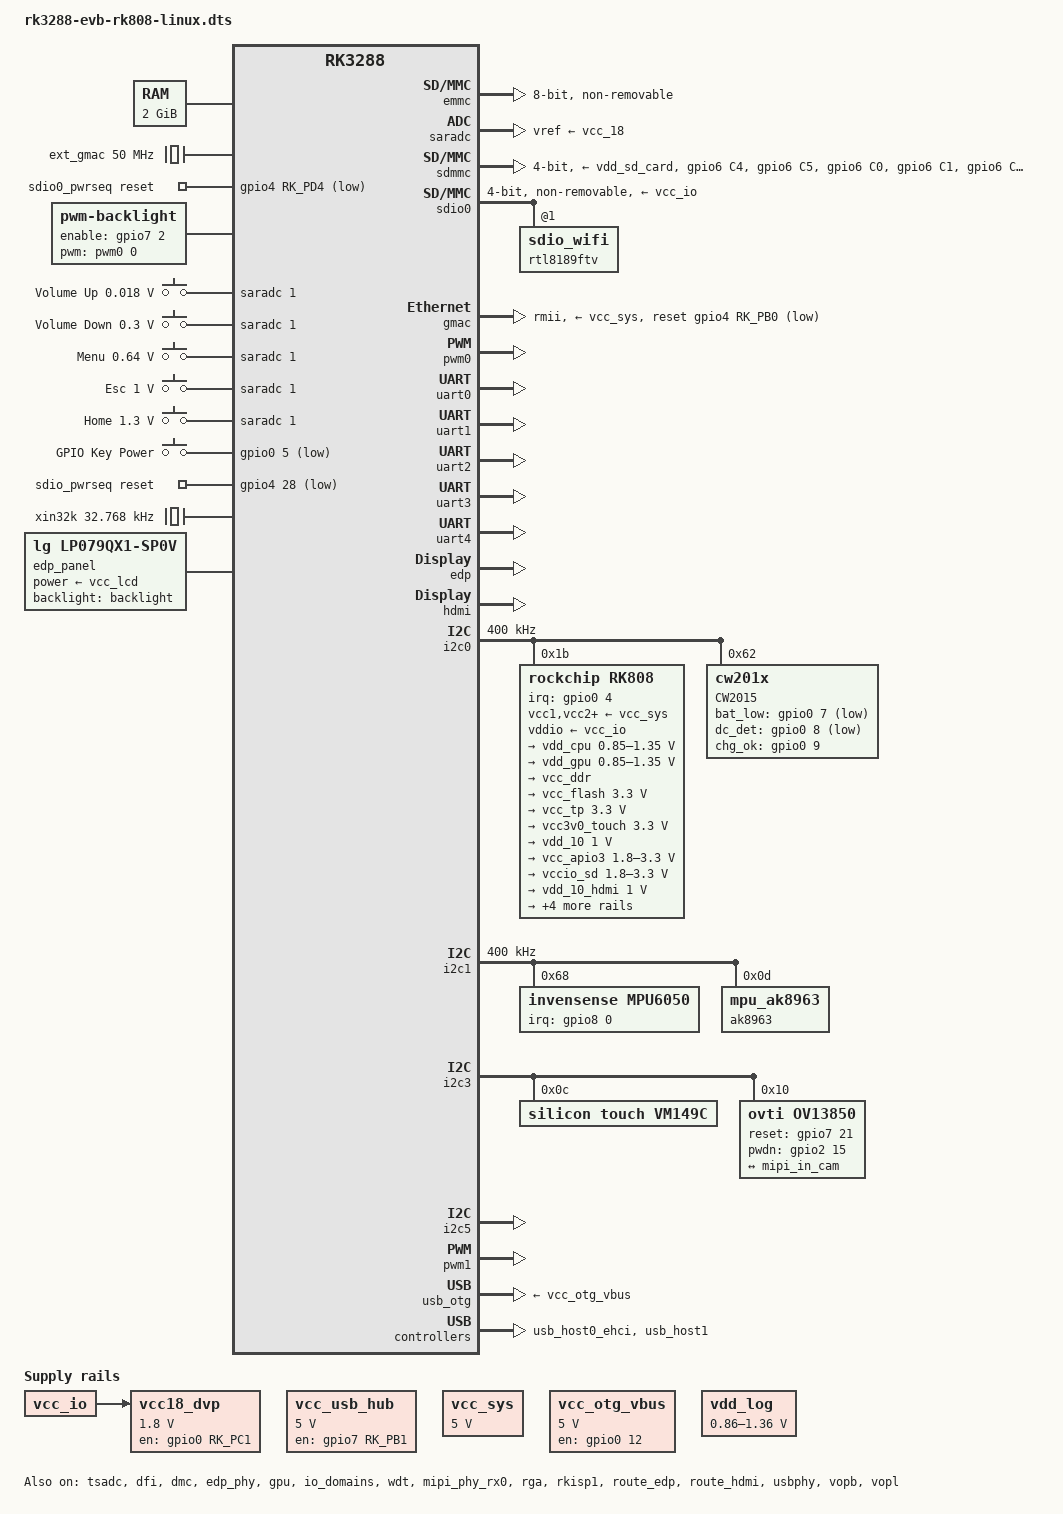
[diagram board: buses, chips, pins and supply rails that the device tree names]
/*
 * This file is dual-licensed: you can use it either under the terms
 * of the GPL or the X11 license, at your option. Note that this dual
 * licensing only applies to this file, and not this project as a
 * whole.
 *
 *  a) This file is free software; you can redistribute it and/or
 *     modify it under the terms of the GNU General Public License as
 *     published by the Free Software Foundation; either version 2 of the
 *     License, or (at your option) any later version.
 *
 *     This file is distributed in the hope that it will be useful,
 *     but WITHOUT ANY WARRANTY; without even the implied warranty of
 *     MERCHANTABILITY or FITNESS FOR A PARTICULAR PURPOSE.  See the
 *     GNU General Public License for more details.
 *
 * Or, alternatively,
 *
 *  b) Permission is hereby granted, free of charge, to any person
 *     obtaining a copy of this software and associated documentation
 *     files (the "Software"), to deal in the Software without
 *     restriction, including without limitation the rights to use,
 *     copy, modify, merge, publish, distribute, sublicense, and/or
 *     sell copies of the Software, and to permit persons to whom the
 *     Software is furnished to do so, subject to the following
 *     conditions:
 *
 *     The above copyright notice and this permission notice shall be
 *     included in all copies or substantial portions of the Software.
 *
 *     THE SOFTWARE IS PROVIDED "AS IS", WITHOUT WARRANTY OF ANY KIND,
 *     EXPRESS OR IMPLIED, INCLUDING BUT NOT LIMITED TO THE WARRANTIES
 *     OF MERCHANTABILITY, FITNESS FOR A PARTICULAR PURPOSE AND
 *     NONINFRINGEMENT. IN NO EVENT SHALL THE AUTHORS OR COPYRIGHT
 *     HOLDERS BE LIABLE FOR ANY CLAIM, DAMAGES OR OTHER LIABILITY,
 *     WHETHER IN AN ACTION OF CONTRACT, TORT OR OTHERWISE, ARISING
 *     FROM, OUT OF OR IN CONNECTION WITH THE SOFTWARE OR THE USE OR
 *     OTHER DEALINGS IN THE SOFTWARE.
 */

/dts-v1/;
#include "rk3288-evb.dtsi"
#include "rk3288-linux.dtsi"
#include <dt-bindings/input/input.h>
#include <dt-bindings/pwm/pwm.h>

/ {
	compatible = "rockchip,rk3288-evb-rk808-linux", "rockchip,rk3288";

	memory@0 {
		device_type = "memory";
		reg = <0x0 0x0 0x0 0x80000000>;
	};

	ext_gmac: external-gmac-clock {
		compatible = "fixed-clock";
		clock-frequency = <50000000>;
		clock-output-names = "ext_gmac";
		#clock-cells = <0>;
	};

	/* This turns on 5V power for the GL850G USB hub chip, which many USB ports are connected to. */
	vcc_usb_hub: vcc-usb-hub-regulator {
		compatible = "regulator-fixed";
		enable-active-high;
		regulator-min-microvolt = <5000000>;
		regulator-max-microvolt = <5000000>;
		gpio = <&gpio7 RK_PB1 GPIO_ACTIVE_HIGH>;
		pinctrl-names = "default";
		pinctrl-0 = <&usb_hub_drv>;
		regulator-name = "vcc_host";
		regulator-always-on;
		regulator-boot-on;
	};

	vcc_sys: vsys-regulator {
		compatible = "regulator-fixed";
		regulator-name = "vcc_sys";
		regulator-min-microvolt = <5000000>;
		regulator-max-microvolt = <5000000>;
		regulator-always-on;
		regulator-boot-on;
	};

	sdio0_pwrseq: sdio0_pwrseq {
		compatible = "mmc-pwrseq-simple";
		pinctrl-names = "default";
		pinctrl-0 = <&wifi_enable_h>;
		reset-gpios = <&gpio4 RK_PD4 GPIO_ACTIVE_LOW>;
		post-power-on-delay-ms = <100>;
	};


	backlight: backlight {
		compatible = "pwm-backlight";
		brightness-levels = <
			  0   1   2   3   4   5   6   7
			  8   9  10  11  12  13  14  15
			 16  17  18  19  20  21  22  23
			 24  25  26  27  28  29  30  31
			 32  33  34  35  36  37  38  39
			 40  41  42  43  44  45  46  47
			 48  49  50  51  52  53  54  55
			 56  57  58  59  60  61  62  63
			 64  65  66  67  68  69  70  71
			 72  73  74  75  76  77  78  79
			 80  81  82  83  84  85  86  87
			 88  89  90  91  92  93  94  95
			 96  97  98  99 100 101 102 103
			104 105 106 107 108 109 110 111
			112 113 114 115 116 117 118 119
			120 121 122 123 124 125 126 127
			128 129 130 131 132 133 134 135
			136 137 138 139 140 141 142 143
			144 145 146 147 148 149 150 151
			152 153 154 155 156 157 158 159
			160 161 162 163 164 165 166 167
			168 169 170 171 172 173 174 175
			176 177 178 179 180 181 182 183
			184 185 186 187 188 189 190 191
			192 193 194 195 196 197 198 199
			200 201 202 203 204 205 206 207
			208 209 210 211 212 213 214 215
			216 217 218 219 220 221 222 223
			224 225 226 227 228 229 230 231
			232 233 234 235 236 237 238 239
			240 241 242 243 244 245 246 247
			248 249 250 251 252 253 254 255>;
		default-brightness-level = <128>;
		enable-gpios = <&gpio7 2 GPIO_ACTIVE_HIGH>;
		pinctrl-names = "default";
		pinctrl-0 = <&bl_en>;
		pwms = <&pwm0 0 1000000 0>;
	};

	adc-keys {
		compatible = "adc-keys";
		io-channels = <&saradc 1>;
		io-channel-names = "buttons";
		poll-interval = <100>;
		keyup-threshold-microvolt = <1800000>;

		button-up {
			label = "Volume Up";
			linux,code = <KEY_VOLUMEUP>;
			press-threshold-microvolt = <18000>;
		};

		button-down {
			label = "Volume Down";
			linux,code = <KEY_VOLUMEDOWN>;
			press-threshold-microvolt = <300000>;
		};

		menu {
			label = "Menu";
			linux,code = <KEY_MENU>;
			press-threshold-microvolt = <640000>;
		};

		esc {
			label = "Esc";
			linux,code = <KEY_ESC>;
			press-threshold-microvolt = <1000000>;
		};

		home  {
			label = "Home";
			linux,code = <KEY_HOME>;
			press-threshold-microvolt = <1300000>;
		};
	};

	gpio-keys {
		compatible = "gpio-keys";
		#address-cells = <1>;
		#size-cells = <0>;
		autorepeat;

		pinctrl-names = "default";
		pinctrl-0 = <&pwrbtn>;

		button@0 {
			gpios = <&gpio0 5 GPIO_ACTIVE_LOW>;
			linux,code = <116>;
			label = "GPIO Key Power";
			linux,input-type = <1>;
			gpio-key,wakeup = <1>;
			debounce-interval = <100>;
		};
	};

	sdio_pwrseq: sdio-pwrseq {
		compatible = "mmc-pwrseq-simple";
		clocks = <&rk808 1>;
		clock-names = "ext_clock";
		pinctrl-names = "default";
		pinctrl-0 = <&wifi_enable_h>;

		/*
		 * On the module itself this is one of these (depending
		 * on the actual card populated):
		 * - SDIO_RESET_L_WL_REG_ON
		 * - PDN (power down when low)
		 */
		reset-gpios = <&gpio4 28 GPIO_ACTIVE_LOW>;
	};

	wireless-bluetooth {
		clocks = <&rk808 1>;
		clock-names = "ext_clock";
	};

	/delete-node/ sdmmc-regulator;

	vcc18_dvp: vcc18-dvp {
		compatible = "regulator-fixed";
		regulator-name = "vcc18_dvp";
		regulator-min-microvolt = <1800000>;
		regulator-max-microvolt = <1800000>;
		gpio = <&gpio0 RK_PC1 GPIO_ACTIVE_HIGH>;
		enable-active-high;
		regulator-always-on;
		vin-supply = <&vcc_io>;
	};

	vcc_otg_vbus: otg-vbus-regulator {
		compatible = "regulator-fixed";
		gpio = <&gpio0 12 GPIO_ACTIVE_HIGH>;
		pinctrl-names = "default";
		pinctrl-0 = <&otg_vbus_drv>;
		regulator-name = "vcc_otg_vbus";
		regulator-min-microvolt = <5000000>;
		regulator-max-microvolt = <5000000>;
		enable-active-high;
	};

	vdd_log: vdd-logic {
		compatible = "pwm-regulator";
		rockchip,pwm_id = <1>;
		rockchip,pwm_voltage = <1100000>;
		pwms = <&pwm1 0 25000 1>;
		regulator-name = "vcc_log";
		regulator-min-microvolt = <860000>;
		regulator-max-microvolt = <1360000>;
		regulator-always-on;
		regulator-boot-on;
	};

	xin32k: xin32k {
		compatible = "fixed-clock";
		clock-frequency = <32768>;
		clock-output-names = "xin32k";
		#clock-cells = <0>;
	};
};

&cif {
	status = "disabled";
	port {
		/* Parallel bus endpoint */
		/* cif_para_in: endpoint {
		 *	remote-endpoint = <&cam_para_out1>;
		 *	bus-width = <8>;
		 *	hsync-active = <1>;
		 *	vsync-active = <0>;
		 * };
		 */

		/* MIPI CSI-2 endpoint */
		cif_mipi_in: endpoint {
			remote-endpoint = <&csi_host_output>;
		};
	};
};

&cpu0 {
	cpu0-supply = <&vdd_cpu>;
};

&emmc {
	bus-width = <8>;
	cap-mmc-highspeed;
	disable-wp;
	non-removable;
	pinctrl-names = "default";
	pinctrl-0 = <&emmc_clk &emmc_cmd &emmc_pwr &emmc_bus8>;
	status = "okay";
};

&saradc {
	vref-supply = <&vcc_18>;
	status = "okay";
};

&sdmmc {
	bus-width = <4>;
	cap-mmc-highspeed;
	cap-sd-highspeed;
	card-detect-delay = <200>;
	disable-wp;			/* wp not hooked up */
	pinctrl-names = "default";
	pinctrl-0 = <&sdmmc_clk &sdmmc_cmd &sdmmc_cd &sdmmc_bus4>;
	status = "okay";
	vmmc-supply = <&vdd_sd_card>;
	vqmmc-supply = <&vccio_sd>;
};

&sdio0 {
	#address-cells = <1>;
	#size-cells = <0>;
	bus-width = <4>;
	mmc-pwrseq = <&sdio0_pwrseq>;
	vmmc-supply = <&vcc_io>;
	vqmmc-supply = <&vcc_apio3>;
	pinctrl-names = "default";
	pinctrl-0 = <&sdio0_bus4>, <&sdio0_cmd>, <&sdio0_clk>, <&sdio0_int>;
	cap-sd-highspeed;
	cap-sdio-irq;
	clock-frequency = <50000000>;
	clock-freq-min-max = <200000 50000000>;
	supports-sdio;
	non-removable;
	keep-power-in-suspend;
	disable-wp;
	status = "okay";

	/*
	 * Explicitly define the sdio device, so that we can add an ethernet
	 * alias for it (which e.g. makes u-boot set a mac-address).
	 */
	rtl8189ftv: sdio_wifi@1 {
		reg = <1>;
	};

	wifi_enable_h: wifienable-h {
		rockchip,pins = <4 RK_PD4 RK_FUNC_GPIO &pcfg_output_high>;
	};


		
	
};

&gmac {
	phy-supply = <&vcc_sys>;
	phy-mode = "rmii";
	clock_in_out = "output";
	snps,reset-gpio = <&gpio4 RK_PB0 GPIO_ACTIVE_HIGH>;
	snps,reset-active-low;
	snps,reset-delays-us = <0 10000 1000000>;
	assigned-clocks = <&cru SCLK_MACREF_OUT>;
	assigned-clock-parents = <&ext_gmac>;
	pinctrl-names = "default";
	pinctrl-0 = <&rmii_pins>;
	tx_delay = <0x30>;
	rx_delay = <0x10>;
	status = "okay";
};

&pwm0 {
	status = "okay";
};

&uart0 {
	status = "okay";
};

&uart1 {
	status = "okay";
};

&uart2 {
	status = "okay";
};

&uart3 {
	status = "okay";
};

&uart4 {
	status = "okay";
};

&tsadc {
	rockchip,hw-tshut-mode = <0>; /* tshut mode 0:CRU 1:GPIO */
	rockchip,hw-tshut-polarity = <0>; /* tshut polarity 0:LOW 1:HIGH */
	status = "okay";
};


&csi_host {
	status = "disabled";
	ports {
		#address-cells = <1>;
		#size-cells = <0>;

		port@0 {
			reg = <0>;
			csi_host_input: endpoint {
				remote-endpoint = <&dphy_txrx1_out>;
				data-lanes = <1>;
			};
		};

		port@1 {
			reg = <1>;
			csi_host_output: endpoint {
				remote-endpoint = <&cif_mipi_in>;
			};
		};
	};
};

&dfi {
	status = "okay";
};

&dmc {
	center-supply = <&vdd_log>;
	status = "okay";
};

&edp {
	status = "okay";
};

&edp_panel {
	compatible ="lg,lp079qx1-sp0v", "simple-panel";
	backlight = <&backlight>;
	enable-delay-ms = <120>;
	pinctrl-0 = <&lcd_cs>;
	power-supply = <&vcc_lcd>;
	status = "okay";

	display-timings {
		native-mode = <&timing0>;

		timing0: timing0 {
			clock-frequency = <200000000>;
			hactive = <1536>;
			vactive = <2048>;
			hfront-porch = <12>;
			hsync-len = <16>;
			hback-porch = <48>;
			vfront-porch = <8>;
			vsync-len = <4>;
			vback-porch = <8>;
			hsync-active = <0>;
			vsync-active = <0>;
			de-active = <0>;
			pixelclk-active = <0>;
		};
	};
};

&edp_phy {
	status = "okay";
};

&gpu {
	status = "okay";
	mali-supply = <&vdd_gpu>;
};

&hdmi {
	pinctrl-0 = <&hdmi_ddc>, <&hdmi_cec>;
	ddc-i2c-bus = <&i2c5>;
	status = "okay";
};

&i2c0 {
	clock-frequency = <400000>;
	status = "okay";

	rk808: pmic@1b {
		compatible = "rockchip,rk808";
		reg = <0x1b>;
		interrupt-parent = <&gpio0>;
		interrupts = <4 IRQ_TYPE_LEVEL_LOW>;
		pinctrl-names = "default";
		/*pinctrl-0 = <&pmic_int &global_pwroff>;*/
		pinctrl-0 = <&pmic_int>;
		rockchip,system-power-controller;
		wakeup-source;
		#clock-cells = <1>;
		clock-output-names = "xin32k", "rk808-clkout2";
		/*clock-output-names = "rk808-clkout1", "rk808-clkout2";*/

		vcc1-supply = <&vcc_sys>;
		vcc2-supply = <&vcc_sys>;
		vcc3-supply = <&vcc_sys>;
		vcc4-supply = <&vcc_sys>;
		vcc6-supply = <&vcc_sys>;
		vcc7-supply = <&vcc_sys>;
		vcc8-supply = <&vcc_sys>;
		vcc9-supply = <&vcc_sys>;
		vcc10-supply = <&vcc_sys>;
 		vcc11-supply = <&vcc_sys>;
		vcc12-supply = <&vcc_sys>;
		vddio-supply = <&vcc_io>;

		regulators {
			vdd_cpu: DCDC_REG1 {
				regulator-always-on;
				regulator-boot-on;
				/*regulator-min-microvolt = <750000>;
				regulator-max-microvolt = <1400000>;*/
				regulator-min-microvolt = <850000>;
 				regulator-max-microvolt = <1350000>;
				regulator-name = "vdd_cpu";
				/*regulator-name = "vdd_arm";*/
				regulator-ramp-delay = <6001>;
				regulator-state-mem {
					regulator-off-in-suspend;
				};
			};

			vdd_gpu: DCDC_REG2 {
				regulator-always-on;
				regulator-boot-on;
				regulator-min-microvolt = <850000>;
				regulator-max-microvolt = <1350000>;
				regulator-name = "vdd_gpu";
				regulator-ramp-delay = <6001>;
				regulator-state-mem {
					regulator-off-in-suspend;
				};
			};

			vcc_ddr: DCDC_REG3 {
				regulator-always-on;
				regulator-boot-on;
				regulator-name = "vcc_ddr";
				regulator-state-mem {
					regulator-on-in-suspend;
				};
			};

			vcc_flash: vcc_io: DCDC_REG4 {
				regulator-always-on;
				regulator-boot-on;
				regulator-min-microvolt = <3300000>;
				regulator-max-microvolt = <3300000>;
				regulator-name = "vcc_flash";
				regulator-state-mem {
					regulator-on-in-suspend;
					regulator-suspend-microvolt = <3300000>;
				};
			};

			vcc_tp: LDO_REG1 {
				regulator-always-on;
				regulator-boot-on;
				regulator-min-microvolt = <3300000>;
				regulator-max-microvolt = <3300000>;
				regulator-name = "vcc_tp";
				regulator-state-mem {
					regulator-off-in-suspend;
				};
			};

			vcc3v0_touch: LDO_REG2 {
				regulator-always-on;
				regulator-boot-on;
				regulator-min-microvolt = <3300000>;
				regulator-max-microvolt = <3300000>;
				regulator-name = "vcc3v0_touch";
				regulator-state-mem {
					regulator-off-in-suspend;
				};
			};

			vdd_10: usb_avdd_1v0: LDO_REG3 {
				regulator-always-on;
				regulator-boot-on;
				regulator-min-microvolt = <1000000>;
				regulator-max-microvolt = <1000000>;
				regulator-name = "vdd_10";
				regulator-state-mem {
					regulator-on-in-suspend;
					regulator-suspend-microvolt = <1000000>;
				};
			};

			vcc_apio3: LDO_REG4 {
				regulator-always-on;
				regulator-boot-on;
				regulator-min-microvolt = <1800000>;
				regulator-max-microvolt = <3300000>;
				regulator-init-microvolt = <1800000>;
				regulator-name = "vcc_apio3";
				regulator-state-mem {
					regulator-on-in-suspend;
				};
			};

			vccio_sd: LDO_REG5 {
				regulator-always-on;
				regulator-boot-on;
				regulator-min-microvolt = <1800000>;
				regulator-max-microvolt = <3300000>;
				regulator-name = "vccio_sd";
				regulator-state-mem {
					regulator-on-in-suspend;
					/*regulator-suspend-microvolt = <3300000>;*/
				};
			};

			vdd_10_hdmi: vdd10_lcd: LDO_REG6 {
				regulator-always-on;
				regulator-boot-on;
				regulator-min-microvolt = <1000000>;
				regulator-max-microvolt = <1000000>;
				regulator-name = "vdd_10_hdmi";
				regulator-state-mem {
					regulator-off-in-suspend;
				};
			};

			vcca_codec: usb_avdd_1v8: LDO_REG7 {
				regulator-always-on;
				regulator-boot-on;
				regulator-min-microvolt = <1800000>;
				regulator-max-microvolt = <1800000>;
				regulator-name = "vcca_codec";
				regulator-state-mem {
					regulator-on-in-suspend;
					/*regulator-suspend-microvolt = <1800000>;*/
				};
			};

			vcc_18: LDO_REG8 {
				regulator-always-on;
				regulator-boot-on;
				regulator-min-microvolt = <1800000>;
				regulator-max-microvolt = <1800000>;
				regulator-name = "vcc_18";
				regulator-state-mem {
					regulator-off-in-suspend;
				};
			};

			vdd_sd_card: SWITCH_REG1 {
				regulator-always-on;
				regulator-boot-on;
				regulator-min-microvolt = <3300000>;
				regulator-max-microvolt = <3300000>;
				regulator-name = "vcc_sd";
				regulator-state-mem {
					regulator-on-in-suspend;
				};
			};

			vcc_lcd: SWITCH_REG2 {
				regulator-always-on;
				regulator-boot-on;
				regulator-min-microvolt = <3300000>;
				regulator-max-microvolt = <3300000>;
				regulator-name = "vcc_lcd";
				regulator-state-mem {
					regulator-off-in-suspend;
				};
			};
		};
	};

	CW2015@62 {
		compatible = "cw201x";
		reg = <0x62>;
		bat_low_gpio = <&gpio0 7 GPIO_ACTIVE_LOW>;
		dc_det_gpio = <&gpio0 8 GPIO_ACTIVE_LOW>;
		chg_ok_gpio = <&gpio0 9 GPIO_ACTIVE_HIGH>;
		bat_config_info = <0x15 0x42 0x60 0x59 0x52 0x58 0x4D 0x48 0x48 0x44 0x44 0x46 0x49 0x48 0x32
			0x24 0x20 0x17 0x13 0x0F 0x19 0x3E 0x51 0x45 0x08 0x76 0x0B 0x85 0x0E 0x1C 0x2E 0x3E 0x4D 0x52 0x52
			0x57 0x3D 0x1B 0x6A 0x2D 0x25 0x43 0x52 0x87 0x8F 0x91 0x94 0x52 0x82 0x8C 0x92 0x96 0xFF 0x7B 0xBB
			0xCB 0x2F 0x7D 0x72 0xA5 0xB5 0xC1 0x46 0xAE>;
		is_dc_charge = <1>;
		is_usb_charge = <0>;
		monitor_sec = <5>;
		virtual_power = <0>;
		divider_res1 = <200>;
		divider_res2 = <200>;
	};
};

&i2c1 {
	status = "okay";
	clock-frequency = <400000>;

	mpu6050@68 {
		compatible = "invensense,mpu6050";
		status = "okay";
		pinctrl-names = "default";
		pinctrl-0 = <&mpu6050_irq_gpio>;
		reg = <0x68>;
		irq-gpio = <&gpio8 0 IRQ_TYPE_EDGE_RISING>;
		mpu-int_config = <0x10>;
		mpu-level_shifter = <0>;
		mpu-orientation = <0 1 0 1 0 0 0 0 1>;
		orientation-x= <0>;
		orientation-y= <1>;
		orientation-z= <0>;
		support-hw-poweroff = <1>;
		mpu-debug = <1>;
	};

	ak8963:compass@0d{
		compatible = "mpu_ak8963";
		reg = <0x0d>;
		compass-bus = <0>;
		compass-adapt_num = <0>;
		compass-orientation = <1 0 0 0 1 0 0 0 1>;
		orientation-x= <0>;
		orientation-y= <0>;
		orientation-z= <1>;
		compass-debug = <1>;
		status = "okay";
	};
};

&io_domains {
	status = "okay";
	audio-supply = <&vcc_io>;
	bb-supply = <&vcc_io>;
	dvp-supply = <&vcc18_dvp>;
	flash0-supply = <&vcc_18>;
	flash1-supply = <&vcc_io>;
	gpio30-supply = <&vcc_io>;
	gpio1830 = <&vcc_io>;
	lcdc-supply = <&vcc_lcd>;
	sdcard-supply = <&vccio_sd>;
	wifi-supply = <&vcc_wl>;
};

&i2c3 {
	status = "okay";

	vm149c: vm149c@0c {
		compatible = "silicon touch,vm149c";
		status = "okay";
		reg = <0x0c>;
		rockchip,camera-module-index = <0>;
		rockchip,camera-module-facing = "back";
	};

	gc2145: gc2145@3c {
		status = "disabled";
		compatible = "galaxycore,gc2145";
		reg = <0x3c>;
		pinctrl-names = "default";
		pinctrl-0 = <&cif_dvp_d2d9>;

		/* reset-gpios = <&gpio7 5 GPIO_ACTIVE_LOW>; */

		/* pwdn gpio:
		 * for cam_para_out1: <&gpio2 14 GPIO_ACTIVE_HIGHT>
		 * for cam_mipi_out1(txrx1): <&gpio7 4 GPIO_ACTIVE_HIGH>
		 */
		pwdn-gpios = <&gpio7 4 GPIO_ACTIVE_HIGH>;
		rockchip,camera-module-index = <1>;
		rockchip,camera-module-facing = "back";
		rockchip,camera-module-name = "CMK-OT1055-FG1";
		rockchip,camera-module-lens-name = "NC";

		clocks = <&cru SCLK_VIP_OUT>;
		clock-names = "xvclk";

		port {
			/* Parallel bus endpoint */
			/* cam_para_out1: endpoint {
			 *	remote-endpoint = <&cif_para_in>;
			 *	bus-width = <8>;
			 *	hsync-active = <1>;
			 *	vsync-active = <0>;
			 * };
			 */

			/* MIPI CSI-2 endpoint */
			cam_mipi_out1: endpoint {
				remote-endpoint = <&mipi_sensor_input>;
				data-lanes = <1>;
				clock-lanes = <0>;
				clock-noncontinuous;
			};
		};
	};

	ov13850: ov13850@10 {
		compatible = "ovti,ov13850";
		status = "okay";
		reg = <0x10>;
		clocks = <&cru SCLK_VIP_OUT>;
		clock-names = "xvclk";

		pinctrl-names = "default";
		pinctrl-0 = <&isp_mipi>;

		reset-gpios = <&gpio7 21 GPIO_ACTIVE_HIGH>;
		pwdn-gpios = <&gpio2 15 GPIO_ACTIVE_HIGH>;
		rockchip,camera-module-index = <0>;
		rockchip,camera-module-facing = "back";
		rockchip,camera-module-name = "CMK-CT0116";
		rockchip,camera-module-lens-name = "Largan-50013A1";
		lens-focus = <&vm149c>;

		port {
			cam_out: endpoint {
				remote-endpoint = <&mipi_in_cam>;
				data-lanes = <1 2>;
			};
		};
	};
};

&i2c5 {
	status = "okay";
};

&wdt {
	status = "okay";
};

&isp_mmu {
	status = "okay";
};

&mipi_phy_rx0 {
	status = "okay";

	ports {
		#address-cells = <1>;
		#size-cells = <0>;

		port@0 {
			reg = <0>;

			mipi_in_cam: endpoint {
				remote-endpoint = <&cam_out>;
				data-lanes = <1 2>;
			};
		};

		port@1 {
			reg = <1>;

			dphy_rx0_out: endpoint {
				remote-endpoint = <&isp_mipi_in>;
			};
		};
	};
};

&mipi_phy_tx1rx1 {
	status = "disabled";

	ports {
		#address-cells = <1>;
		#size-cells = <0>;

		port@0 {
			reg = <0>;
			mipi_sensor_input: endpoint {
				remote-endpoint = <&cam_mipi_out1>;
				data-lanes = <1>;
			};
		};

		port@1 {
			reg = <1>;
			dphy_txrx1_out: endpoint {
				remote-endpoint = <&csi_host_input>;
			};
		};
	};
};

&rga {
	status = "okay";
};

&rkisp1 {
	status = "okay";

	port {
		isp_mipi_in: endpoint {
			remote-endpoint = <&dphy_rx0_out>;
		};
	};
};

&rockchip_suspend {
	rockchip,pwm-regulator-config = <
	(0
	| PWM1_REGULATOR_EN
	)
	>;
};

&route_edp {
	status = "okay";
};

&route_hdmi {
	status = "okay";
};

&sound {
	status = "okay";
};

&pwm1 {
	status = "okay";
};

&pinctrl {
	backlight {
		bl_en: bl-en {
			rockchip,pins = <7 2 RK_FUNC_GPIO &pcfg_pull_none>;
		};
	};

	buttons {
		pwrbtn: pwrbtn {
			rockchip,pins = <0 5 RK_FUNC_GPIO &pcfg_pull_up>;
		};
	};

	mpu6050 {
		mpu6050_irq_gpio: mpu6050-irq-gpio {
			rockchip,pins = <8 0 RK_FUNC_GPIO &pcfg_pull_none>;
		};
	};

	usb {
		otg_vbus_drv: otg-vbus-drv {
			rockchip,pins = <0 12 RK_FUNC_GPIO &pcfg_pull_none>;
		};

		usb_hub_drv: usb-hub-drv {
			rockchip,pins = <7 RK_PB1 RK_FUNC_GPIO &pcfg_output_high>;
		};
	};

	pcfg_pull_none_drv_8ma: pcfg-pull-none-drv-8ma {
		drive-strength = <8>;
	};

	pcfg_pull_up_drv_8ma: pcfg-pull-up-drv-8ma {
		bias-pull-up;
		drive-strength = <8>;
	};

	pcfg_output_high: pcfg-output-high {
		output-high;
	};

	pmic {
		pmic_int: pmic-int {
			rockchip,pins = <0 RK_PA4 RK_FUNC_GPIO &pcfg_pull_up>;
		};
	};

	sdmmc {
		/*
		 * Default drive strength isn't enough to achieve even
		 * high-speed mode on EVB board so bump up to 8ma.
		 */
		sdmmc_bus4: sdmmc-bus4 {
			rockchip,pins = <6 RK_PC0 1 &pcfg_pull_up_drv_8ma>,
					<6 RK_PC1 1 &pcfg_pull_up_drv_8ma>,
					<6 RK_PC2 1 &pcfg_pull_up_drv_8ma>,
					<6 RK_PC3 1 &pcfg_pull_up_drv_8ma>;
		};

		sdmmc_clk: sdmmc-clk {
			rockchip,pins = <6 RK_PC4 1 &pcfg_pull_none_drv_8ma>;
		};

		sdmmc_cmd: sdmmc-cmd {
			rockchip,pins = <6 RK_PC5 1 &pcfg_pull_up_drv_8ma>;
		};

		sdmmc_pwr: sdmmc-pwr {
			rockchip,pins = <7 RK_PB3 RK_FUNC_GPIO &pcfg_pull_none>;
		};
	};
};

&usb_otg {
	vbus-supply = <&vcc_otg_vbus>;
};

&usbphy {
	status = "okay";
};

&usb_host0_ehci {
	status = "okay";
};

&usb_host1 {
	status = "okay";
};

&vopb {
	status = "okay";
};

&vopb_mmu {
	status = "okay";
};

&vopl {
	status = "okay";
};

&vopl_mmu {
	status = "okay";
 };

